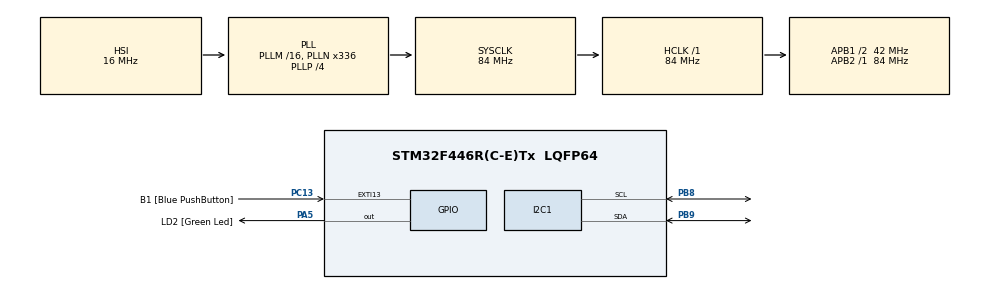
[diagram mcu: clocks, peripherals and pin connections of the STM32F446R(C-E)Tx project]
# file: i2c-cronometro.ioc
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I2C1.I2C_Mode=I2C_Fast
Mcu.Family=STM32F4
Mcu.Name=STM32F446R(C-E)Tx
Mcu.Package=LQFP64
NVIC.PriorityGroup=NVIC_PRIORITYGROUP_0
PA13.GPIO_Label=TMS
PA13.Signal=SYS_JTMS-SWDIO
PA14.GPIO_Label=TCK
PA14.Signal=SYS_JTCK-SWCLK
PA2.GPIO_Label=USART_TX
PA2.Signal=USART2_TX
PA3.GPIO_Label=USART_RX
PA3.Signal=USART2_RX
PA5.GPIO_Label=LD2 [Green Led]
PA5.Signal=GPIO_Output
PB3.GPIO_Label=SWO
PB3.Signal=SYS_JTDO-SWO
PB8.Mode=I2C
PB8.Signal=I2C1_SCL
PB9.Mode=I2C
PB9.Signal=I2C1_SDA
PC13.GPIO_Label=B1 [Blue PushButton]
PC13.GPIO_ModeDefaultEXTI=GPIO_MODE_IT_FALLING
PC13.Signal=GPXTI13
PC14-OSC32_IN.Signal=RCC_OSC32_IN
PC15-OSC32_OUT.Signal=RCC_OSC32_OUT
PH0-OSC_IN.Signal=RCC_OSC_IN
PH1-OSC_OUT.Signal=RCC_OSC_OUT
ProjectManager.HeapSize=0x200
ProjectManager.StackSize=0x400
ProjectManager.TargetToolchain=STM32CubeIDE
RCC.AHBFreq_Value=84000000
RCC.APB1CLKDivider=RCC_HCLK_DIV2
RCC.APB1Freq_Value=42000000
RCC.APB1TimFreq_Value=84000000
RCC.APB2Freq_Value=84000000
RCC.APB2TimFreq_Value=84000000
RCC.CortexFreq_Value=84000000
RCC.FLatency-AdvancedSettings=FLASH_LATENCY_2
RCC.HCLKFreq_Value=84000000
RCC.HSE_VALUE=8000000
RCC.HSI_VALUE=16000000
RCC.LSE_VALUE=32768
RCC.PLLN=336
RCC.PLLP=RCC_PLLP_DIV4
RCC.SYSCLKFreq_VALUE=84000000
RCC.SYSCLKSource=RCC_SYSCLKSOURCE_PLLCLK
RCC.USBFreq_Value=168000000
RCC.VCOOutputFreq_Value=336000000
board=NUCLEO-F446RE

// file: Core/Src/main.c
/* USER CODE BEGIN Header */
/**
  ******************************************************************************
  * @file           : main.c
  * @brief          : Main program body
  ******************************************************************************
  * @attention
  *
  * Copyright (c) 2024 STMicroelectronics.
  * All rights reserved.
  *
  * This software is licensed under terms that can be found in the LICENSE file
  * in the root directory of this software component.
  * If no LICENSE file comes with this software, it is provided AS-IS.
  *
  ******************************************************************************
  */
/* USER CODE END Header */
#include "main.h"
#include "ssd1306.h"
#include <stdio.h>

I2C_HandleTypeDef hi2c1;

void SystemClock_Config(void);
static void MX_GPIO_Init(void);
static void MX_I2C1_Init(void);

int main(void)
{

  /* MCU Configuration--------------------------------------------------------*/

  /* Reset of all peripherals, Initializes the Flash interface and the Systick. */
  HAL_Init();

  /* Configure the system clock */
  SystemClock_Config();

  /* Initialize all configured peripherals */
  MX_GPIO_Init();
  MX_I2C1_Init();
  /* USER CODE BEGIN 2 */
  SSD1306_Init ();
  char buffer[26] = {0};

  int cont_seconds = 0;
  int cont_minutes = 0;
  int cont_hours = 0;
  /* USER CODE END 2 */

  /* Infinite loop */
  /* USER CODE BEGIN WHILE */
  while (1)
  {
      SSD1306_Clear();
      SSD1306_GotoXY(20, 23);

      cont_seconds++;

      if (cont_seconds >= 60) {
	cont_minutes++;
	cont_seconds = 0;
      }

      if (cont_minutes >= 60) {
	cont_hours++;
	cont_minutes = 0;
      }

      if (cont_hours >= 24)
	cont_hours = 0;

      sprintf(buffer, "%02d:%02d:%02d",
    		  cont_hours,
    		  cont_minutes,
    		  cont_seconds);

      SSD1306_Puts(buffer, &Font_11x18, 1);
      SSD1306_UpdateScreen();

      HAL_Delay(1000);

      /* USER CODE END WHILE */

  }
}

void SystemClock_Config(void)
{
  RCC_OscInitTypeDef RCC_OscInitStruct = {0};
  RCC_ClkInitTypeDef RCC_ClkInitStruct = {0};

  /** Configure the main internal regulator output voltage
  */
  __HAL_RCC_PWR_CLK_ENABLE();
  __HAL_PWR_VOLTAGESCALING_CONFIG(PWR_REGULATOR_VOLTAGE_SCALE3);

  /** Initializes the RCC Oscillators according to the specified parameters
  * in the RCC_OscInitTypeDef structure.
  */
  RCC_OscInitStruct.OscillatorType = RCC_OSCILLATORTYPE_HSI;
  RCC_OscInitStruct.HSIState = RCC_HSI_ON;
  RCC_OscInitStruct.HSICalibrationValue = RCC_HSICALIBRATION_DEFAULT;
  RCC_OscInitStruct.PLL.PLLState = RCC_PLL_ON;
  RCC_OscInitStruct.PLL.PLLSource = RCC_PLLSOURCE_HSI;
  RCC_OscInitStruct.PLL.PLLM = 16;
  RCC_OscInitStruct.PLL.PLLN = 336;
  RCC_OscInitStruct.PLL.PLLP = RCC_PLLP_DIV4;
  RCC_OscInitStruct.PLL.PLLQ = 2;
  RCC_OscInitStruct.PLL.PLLR = 2;
  if (HAL_RCC_OscConfig(&RCC_OscInitStruct) != HAL_OK)
  {
    Error_Handler();
  }

  /** Initializes the CPU, AHB and APB buses clocks
  */
  RCC_ClkInitStruct.ClockType = RCC_CLOCKTYPE_HCLK|RCC_CLOCKTYPE_SYSCLK
                              |RCC_CLOCKTYPE_PCLK1|RCC_CLOCKTYPE_PCLK2;
  RCC_ClkInitStruct.SYSCLKSource = RCC_SYSCLKSOURCE_PLLCLK;
  RCC_ClkInitStruct.AHBCLKDivider = RCC_SYSCLK_DIV1;
  RCC_ClkInitStruct.APB1CLKDivider = RCC_HCLK_DIV2;
  RCC_ClkInitStruct.APB2CLKDivider = RCC_HCLK_DIV1;

  if (HAL_RCC_ClockConfig(&RCC_ClkInitStruct, FLASH_LATENCY_2) != HAL_OK)
  {
    Error_Handler();
  }
}

static void MX_I2C1_Init(void)
{

  hi2c1.Instance = I2C1;
  hi2c1.Init.ClockSpeed = 400000;
  hi2c1.Init.DutyCycle = I2C_DUTYCYCLE_2;
  hi2c1.Init.OwnAddress1 = 0;
  hi2c1.Init.AddressingMode = I2C_ADDRESSINGMODE_7BIT;
  hi2c1.Init.DualAddressMode = I2C_DUALADDRESS_DISABLE;
  hi2c1.Init.OwnAddress2 = 0;
  hi2c1.Init.GeneralCallMode = I2C_GENERALCALL_DISABLE;
  hi2c1.Init.NoStretchMode = I2C_NOSTRETCH_DISABLE;
  if (HAL_I2C_Init(&hi2c1) != HAL_OK)
  {
    Error_Handler();
  }

}

static void MX_GPIO_Init(void)
{
  GPIO_InitTypeDef GPIO_InitStruct = {0};

  /* GPIO Ports Clock Enable */
  __HAL_RCC_GPIOC_CLK_ENABLE();
  __HAL_RCC_GPIOH_CLK_ENABLE();
  __HAL_RCC_GPIOA_CLK_ENABLE();
  __HAL_RCC_GPIOB_CLK_ENABLE();

  /*Configure GPIO pin Output Level */
  HAL_GPIO_WritePin(LD2_GPIO_Port, LD2_Pin, GPIO_PIN_RESET);

  /*Configure GPIO pin : B1_Pin */
  GPIO_InitStruct.Pin = B1_Pin;
  GPIO_InitStruct.Mode = GPIO_MODE_IT_FALLING;
  GPIO_InitStruct.Pull = GPIO_NOPULL;
  HAL_GPIO_Init(B1_GPIO_Port, &GPIO_InitStruct);

  /*Configure GPIO pins : USART_TX_Pin USART_RX_Pin */
  GPIO_InitStruct.Pin = USART_TX_Pin|USART_RX_Pin;
  GPIO_InitStruct.Mode = GPIO_MODE_AF_PP;
  GPIO_InitStruct.Pull = GPIO_NOPULL;
  GPIO_InitStruct.Speed = GPIO_SPEED_FREQ_VERY_HIGH;
  GPIO_InitStruct.Alternate = GPIO_AF7_USART2;
  HAL_GPIO_Init(GPIOA, &GPIO_InitStruct);

  /*Configure GPIO pin : LD2_Pin */
  GPIO_InitStruct.Pin = LD2_Pin;
  GPIO_InitStruct.Mode = GPIO_MODE_OUTPUT_PP;
  GPIO_InitStruct.Pull = GPIO_NOPULL;
  GPIO_InitStruct.Speed = GPIO_SPEED_FREQ_LOW;
  HAL_GPIO_Init(LD2_GPIO_Port, &GPIO_InitStruct);

}

void Error_Handler(void)
{
  __disable_irq();
  while (1)
  {
  }
}
